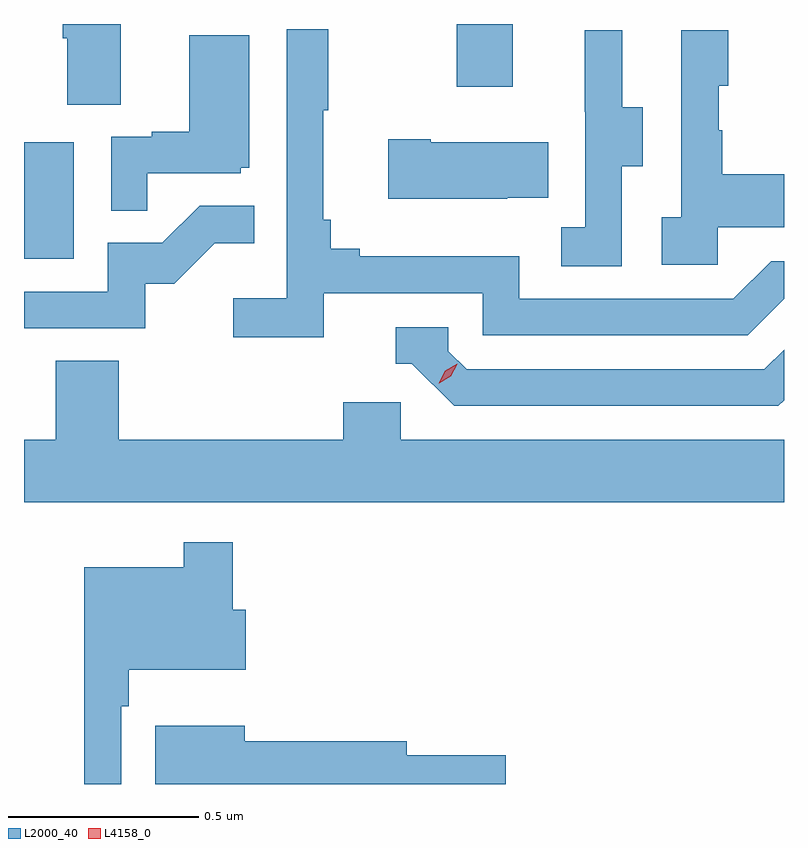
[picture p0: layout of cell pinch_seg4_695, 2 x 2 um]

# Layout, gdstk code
import gdstk
lib = gdstk.Library(unit=1e-6, precision=1e-09)
def R(c, l, rs):  # rectangles x0, y0, x1, y1
    for r in rs: c.add(gdstk.rectangle(r[:2], r[2:], *l))
def P(c, l, *ps):  # polygons
    for p in ps: c.add(gdstk.Polygon(p, *l))
L2000_40 = (2000, 40)
L4158_0 = (4158, 0)

pinch_seg4_695 = lib.new_cell('pinch_seg4_695')
R(pinch_seg4_695, L2000_40, [(1113.515,768.156,1113.646,768.463), (1114.654,768.609,1114.801,768.774)])
P(pinch_seg4_695, L2000_40, [(1113.769,768.774),(1113.617,768.774),(1113.617,768.736),(1113.629,768.736),(1113.629,768.562),(1113.769,768.562)],
  [(1114.304,768.066),(1114.722,768.066),(1114.722,767.955),(1115.419,767.955),(1115.515,768.051),(1115.515,768.15),(1115.481,768.15),(1115.382,768.051),(1114.818,768.051),(1114.818,768.163),(1114.399,768.163),(1114.399,768.182),(1114.322,768.182),(1114.322,768.259),(1114.303,768.259),(1114.303,768.547),(1114.315,768.547),(1114.315,768.76),(1114.206,768.76),(1114.206,768.052),(1114.065,768.052),(1114.065,767.95),(1114.304,767.95)],
  [(1115.34,768.239),(1115.515,768.239),(1115.515,768.379),(1115.353,768.379),(1115.353,768.494),(1115.343,768.494),(1115.343,768.612),(1115.368,768.612),(1115.368,768.757),(1115.244,768.757),(1115.244,768.266),(1115.193,768.266),(1115.193,768.141),(1115.34,768.141)],
  [(1115.088,768.4),(1115.143,768.4),(1115.143,768.555),(1115.089,768.555),(1115.089,768.757),(1114.991,768.757),(1114.991,768.543),(1114.992,768.543),(1114.992,768.239),(1114.929,768.239),(1114.929,768.136),(1115.088,768.136)],
  [(1113.839,768.381),(1114.086,768.381),(1114.086,768.396),(1114.108,768.396),(1114.108,768.745),(1113.95,768.745),(1113.95,768.49),(1113.851,768.49),(1113.851,768.477),(1113.744,768.477),(1113.744,768.283),(1113.839,768.283)],
  [(1114.787,768.317),(1114.895,768.317),(1114.895,768.463),(1114.585,768.463),(1114.585,768.471),(1114.473,768.471),(1114.473,768.314),(1114.787,768.314)],
  [(1113.834,768.09),(1113.91,768.09),(1114.017,768.197),(1114.121,768.197),(1114.121,768.296),(1113.977,768.296),(1113.879,768.198),(1113.735,768.198),(1113.735,768.069),(1113.515,768.069),(1113.515,767.973),(1113.834,767.973)],
  [(1115.515,767.784),(1115.515,767.917),(1115.463,767.865),(1114.68,767.865),(1114.632,767.913),(1114.632,767.976),(1114.493,767.976),(1114.493,767.88),(1114.536,767.88),(1114.647,767.769),(1115.5,767.769)],
  [(1115.515,767.68),(1114.506,767.68),(1114.506,767.778),(1114.355,767.778),(1114.355,767.68),(1113.764,767.68),(1113.764,767.888),(1113.599,767.888),(1113.599,767.68),(1113.515,767.68),(1113.515,767.516),(1115.515,767.516)],
  [(1113.771,766.979),(1113.791,766.979),(1113.791,767.075),(1114.099,767.075),(1114.099,767.233),(1114.064,767.233),(1114.064,767.41),(1113.936,767.41),(1113.936,767.344),(1113.674,767.344),(1113.674,766.774),(1113.771,766.774)],
  [(1114.783,766.85),(1114.522,766.85),(1114.522,766.886),(1114.096,766.886),(1114.096,766.927),(1113.86,766.927),(1113.86,766.774),(1114.783,766.774)])
P(pinch_seg4_695, L4158_0, [(1114.607,767.829),(1114.607,767.829),(1114.624,767.861),(1114.655,767.88),(1114.655,767.88),(1114.655,767.879),(1114.638,767.847),(1114.608,767.829)])

lib.write_gds('pinch_seg4_695.gds')
